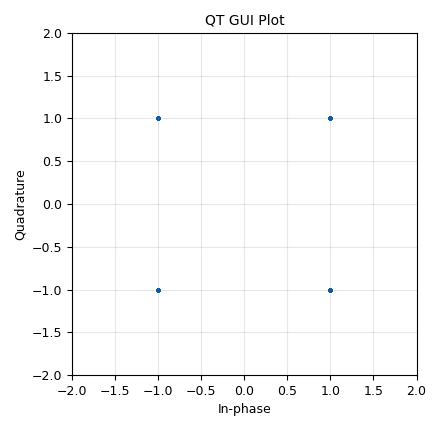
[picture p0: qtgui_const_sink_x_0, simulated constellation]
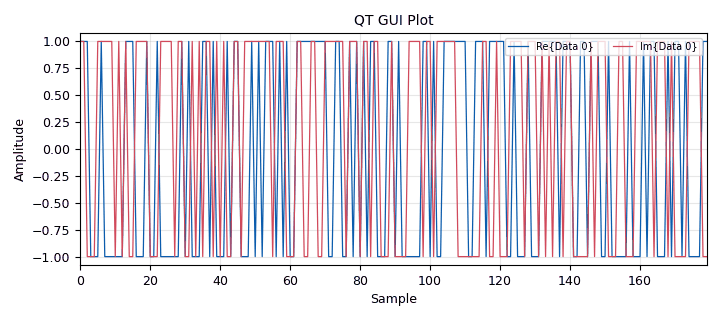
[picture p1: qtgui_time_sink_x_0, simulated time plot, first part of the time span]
<?xml version='1.0' encoding='utf-8'?>
<flow_graph>
<block>
<key>options</key>
<param><key>id</key><value>bits_representations</value></param>
<param><key>generate_options</key><value>qt_gui</value></param>
<param><key>category</key><value>Custom</value></param>
</block>
<block>
<key>gr_short_to_float</key>
<param><key>id</key><value>gr_short_to_float_0_0</value></param>
<param><key>vlen</key><value>1</value></param>
<param><key>scale</key><value>1</value></param>
</block>
<block>
<key>gr_short_to_float</key>
<param><key>id</key><value>gr_short_to_float_0</value></param>
<param><key>vlen</key><value>1</value></param>
<param><key>scale</key><value>1</value></param>
</block>
<block>
<key>variable</key>
<param><key>id</key><value>samp_rate</value></param>
<param><key>value</key><value>32000</value></param>
</block>
<block>
<key>gr_throttle</key>
<param><key>id</key><value>gr_throttle_0</value></param>
<param><key>type</key><value>complex</value></param>
<param><key>samples_per_second</key><value>samp_rate</value></param>
<param><key>vlen</key><value>1</value></param>
</block>
<block>
<key>gr_multiply_const_vxx</key>
<param><key>id</key><value>gr_multiply_const_vxx_0</value></param>
<param><key>type</key><value>complex</value></param>
<param><key>const</key><value>2</value></param>
<param><key>vlen</key><value>1</value></param>
</block>
<block>
<key>gr_add_const_vxx</key>
<param><key>id</key><value>gr_add_const_vxx_0</value></param>
<param><key>type</key><value>complex</value></param>
<param><key>const</key><value>-1-1j</value></param>
<param><key>vlen</key><value>1</value></param>
</block>
<block>
<key>qtgui_const_sink_x</key>
<param><key>id</key><value>qtgui_const_sink_x_0</value></param>
<param><key>type</key><value>complex</value></param>
<param><key>name</key><value>QT GUI Plot</value></param>
<param><key>size</key><value>1024</value></param>
<param><key>gui_hint</key><value>0,1,1,1</value></param>
</block>
<block>
<key>qtgui_time_sink_x</key>
<param><key>id</key><value>qtgui_time_sink_x_0</value></param>
<param><key>type</key><value>complex</value></param>
<param><key>name</key><value>QT GUI Plot</value></param>
<param><key>size</key><value>1024</value></param>
<param><key>bw</key><value>samp_rate</value></param>
<param><key>gui_hint</key><value>0,0,1,1</value></param>
</block>
<block>
<key>random_source_x</key>
<param><key>id</key><value>random_source_x_0</value></param>
<param><key>type</key><value>short</value></param>
<param><key>min</key><value>0</value></param>
<param><key>max</key><value>2</value></param>
<param><key>num_samps</key><value>1000</value></param>
<param><key>repeat</key><value>True</value></param>
</block>
<block>
<key>random_source_x</key>
<param><key>id</key><value>random_source_x_0_0</value></param>
<param><key>type</key><value>short</value></param>
<param><key>min</key><value>0</value></param>
<param><key>max</key><value>2</value></param>
<param><key>num_samps</key><value>1000</value></param>
<param><key>repeat</key><value>True</value></param>
</block>
<block>
<key>gr_float_to_complex</key>
<param><key>id</key><value>gr_float_to_complex_0</value></param>
<param><key>vlen</key><value>1</value></param>
</block>
<connection><source_block_id>gr_short_to_float_0_0</source_block_id><sink_block_id>gr_float_to_complex_0</sink_block_id><source_key>0</source_key><sink_key>1</sink_key></connection>
<connection><source_block_id>gr_short_to_float_0</source_block_id><sink_block_id>gr_float_to_complex_0</sink_block_id><source_key>0</source_key><sink_key>0</sink_key></connection>
<connection><source_block_id>random_source_x_0_0</source_block_id><sink_block_id>gr_short_to_float_0_0</sink_block_id><source_key>0</source_key><sink_key>0</sink_key></connection>
<connection><source_block_id>random_source_x_0</source_block_id><sink_block_id>gr_short_to_float_0</sink_block_id><source_key>0</source_key><sink_key>0</sink_key></connection>
<connection><source_block_id>gr_float_to_complex_0</source_block_id><sink_block_id>gr_throttle_0</sink_block_id><source_key>0</source_key><sink_key>0</sink_key></connection>
<connection><source_block_id>gr_throttle_0</source_block_id><sink_block_id>gr_multiply_const_vxx_0</sink_block_id><source_key>0</source_key><sink_key>0</sink_key></connection>
<connection><source_block_id>gr_multiply_const_vxx_0</source_block_id><sink_block_id>gr_add_const_vxx_0</sink_block_id><source_key>0</source_key><sink_key>0</sink_key></connection>
<connection><source_block_id>gr_add_const_vxx_0</source_block_id><sink_block_id>qtgui_const_sink_x_0</sink_block_id><source_key>0</source_key><sink_key>0</sink_key></connection>
<connection><source_block_id>gr_add_const_vxx_0</source_block_id><sink_block_id>qtgui_time_sink_x_0</sink_block_id><source_key>0</source_key><sink_key>0</sink_key></connection>
</flow_graph>
